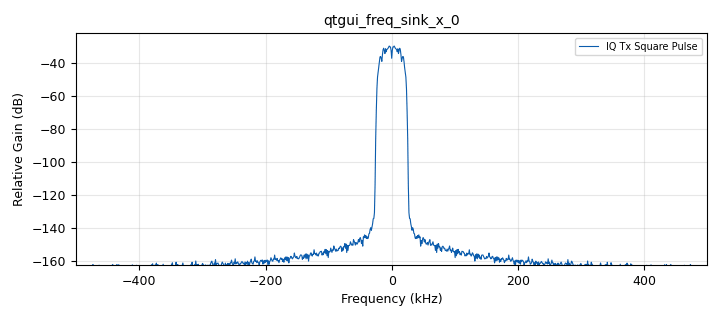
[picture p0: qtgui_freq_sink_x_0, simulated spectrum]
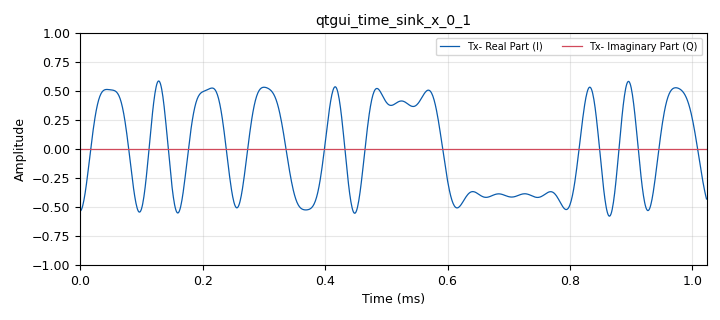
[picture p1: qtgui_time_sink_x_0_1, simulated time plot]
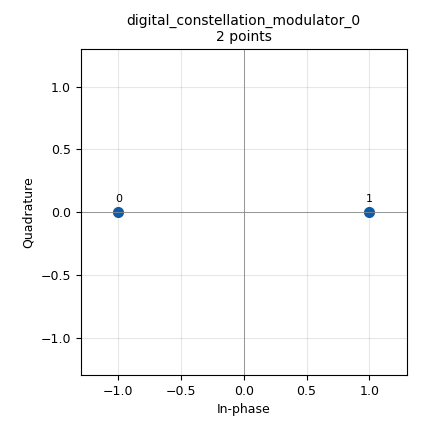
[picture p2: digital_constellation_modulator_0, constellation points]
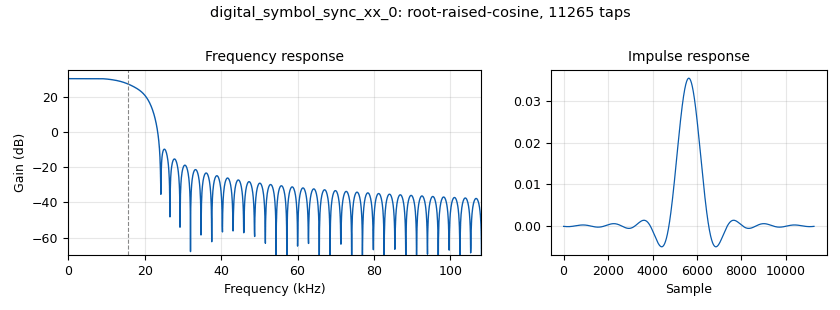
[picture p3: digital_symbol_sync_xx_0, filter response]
options:
  parameters:
    generate_options: qt_gui
    id: usrp_lab3
    output_language: python
    title: Optical Link
  states: {}

blocks:
- name: center_freq
  id: variable
  parameters:
    value: 10e6
  states: {}
- name: constellation
  id: variable_constellation
  parameters:
    precision: '8'
    type: bpsk
  states: {}
- name: excessbw
  id: variable
  parameters:
    value: '.5'
  states: {}
- name: maxgain
  id: variable_qtgui_range
  parameters:
    gui_hint: 4,0,1,2
    start: '1'
    step: '1'
    stop: '10000'
    value: '1'
  states: {}
- name: nfilts
  id: variable
  parameters:
    value: '32'
  states: {}
- name: rrc_taps
  id: variable_rrc_filter_taps
  parameters:
    alpha: excessbw
    gain: nfilts
    ntaps: 11*sps*nfilts
    samp_rate: samp_rate*nfilts
    sym_rate: samp_rate/sps
  states: {}
- name: samp_rate
  id: variable
  parameters:
    value: 1e6
  states: {}
- name: sps
  id: variable
  parameters:
    value: '32'
  states: {}
- name: analog_agc_xx_0
  id: analog_agc_xx
  parameters:
    gain: '1'
    max_gain: maxgain
    rate: '1e-4'
    reference: '1'
    type: complex
  states: {}
- name: analog_random_uniform_source_x_0
  id: analog_random_uniform_source_x
  parameters:
    comment: Random Integer Generator
    maximum: constellation.arity()
    minimum: '0'
    seed: '0'
    type: byte
  states: {}
- name: blocks_multiply_const_vxx_0
  id: blocks_multiply_const_vxx
  parameters:
    const: '0.4'
    type: complex
  states: {}
- name: blocks_unpacked_to_packed_xx_0
  id: blocks_unpacked_to_packed_xx
  parameters:
    bits_per_chunk: int(log2(constellation.arity()))
    comment: |-
      Each integer from the RUS is converted into a byte. 
      This block packs the last bits in each integer byte 
      into a new "packed" byte to be transmitted.
    endianness: gr.GR_MSB_FIRST
    type: byte
  states: {}
- name: digital_constellation_modulator_0
  id: digital_constellation_modulator
  parameters:
    constellation: constellation
    differential: 'False'
    excess_bw: excessbw
    samples_per_symbol: sps
  states: {}
- name: digital_costas_loop_cc_0
  id: digital_costas_loop_cc
  parameters:
    comment: |-
      Fine Phase/Frequency error 
      estimate and correction
    order: constellation.arity()
    w: '62.8e-3'
  states: {}
- name: digital_symbol_sync_xx_0
  id: digital_symbol_sync_xx
  parameters:
    comment: |-
      Clock Recovery- polyphase FB
      and matched filtering
    damping: '1.0'
    loop_bw: '0.045'
    max_dev: '1.5'
    nfilters: nfilts
    osps: '1'
    pfb_mf_taps: rrc_taps
    resamp_type: digital.IR_PFB_MF
    sps: sps
    ted_gain: '1.0'
    ted_type: digital.TED_SIGNAL_TIMES_SLOPE_ML
    type: cc
  states: {}
- name: import_0
  id: import
  parameters:
    imports: from math import log2
  states: {}
- name: qtgui_const_sink_x_0
  id: qtgui_const_sink_x
  parameters:
    grid: 'True'
    gui_hint: 2,1,2,1
    label1: Costas
    size: 1024*4
    type: complex
  states: {}
- name: qtgui_freq_sink_x_0
  id: qtgui_freq_sink_x
  parameters:
    autoscale: 'True'
    average: '0.05'
    bw: samp_rate
    fc: '0'
    fftsize: '1024'
    grid: 'True'
    gui_hint: 0,1,1,1
    label1: 'IQ Tx Square Pulse '
    type: complex
  states: {}
- name: qtgui_freq_sink_x_1
  id: qtgui_freq_sink_x
  parameters:
    average: '0.05'
    bw: samp_rate
    fc: '0'
    fftsize: '1024'
    grid: 'True'
    gui_hint: 3,0,1,1
    label1: Rx Spectrum
    type: complex
  states: {}
- name: qtgui_time_sink_x_0_1
  id: qtgui_time_sink_x
  parameters:
    grid: 'True'
    gui_hint: 0,0,1,1
    label1: 'Tx- Real Part (I) '
    label2: Tx- Imaginary Part (Q)
    size: '1024'
    srate: samp_rate
    type: complex
  states: {}
- name: qtgui_time_sink_x_1_0
  id: qtgui_time_sink_x
  parameters:
    grid: 'True'
    gui_hint: 2,0,1,1
    label1: Rx- Real Part (I)
    label2: Rx- Imaginary Part (Q)
    size: '1024'
    srate: samp_rate
    type: complex
    ymax: '2'
    ymin: '-2'
  states: {}
- name: root_raised_cosine_filter_0
  id: root_raised_cosine_filter
  parameters:
    alpha: excessbw
    decim: '1'
    gain: '1'
    ntaps: 11*sps
    samp_rate: samp_rate
    sym_rate: samp_rate/sps
    type: fir_filter_ccf
  states: {state: disabled}
- name: uhd_usrp_sink_0_0
  id: uhd_usrp_sink
  parameters:
    ant0: '"TX/RX"'
    center_freq0: center_freq
    comment: USRP Transmiter
    gain0: '0'
    samp_rate: samp_rate
    sync: none
    type: fc32
  states: {}
- name: uhd_usrp_source_0_0
  id: uhd_usrp_source
  parameters:
    ant0: '"RX2"'
    center_freq0: center_freq
    comment: USRP Receiver
    gain0: '0'
    samp_rate: samp_rate
    sync: none
    type: fc32
  states: {}

connections:
- [analog_agc_xx_0, '0', digital_symbol_sync_xx_0, '0']
- [analog_agc_xx_0, '0', qtgui_freq_sink_x_1, '0']
- [analog_agc_xx_0, '0', qtgui_time_sink_x_1_0, '0']
- [analog_agc_xx_0, '0', root_raised_cosine_filter_0, '0']
- [analog_random_uniform_source_x_0, '0', blocks_unpacked_to_packed_xx_0, '0']
- [blocks_multiply_const_vxx_0, '0', qtgui_freq_sink_x_0, '0']
- [blocks_multiply_const_vxx_0, '0', qtgui_time_sink_x_0_1, '0']
- [blocks_multiply_const_vxx_0, '0', uhd_usrp_sink_0_0, '0']
- [blocks_unpacked_to_packed_xx_0, '0', digital_constellation_modulator_0, '0']
- [digital_constellation_modulator_0, '0', blocks_multiply_const_vxx_0, '0']
- [digital_costas_loop_cc_0, '0', qtgui_const_sink_x_0, '0']
- [digital_symbol_sync_xx_0, '0', digital_costas_loop_cc_0, '0']
- [uhd_usrp_source_0_0, '0', analog_agc_xx_0, '0']

metadata:
  file_format: 1
  grc_version: 3.10.5.1
